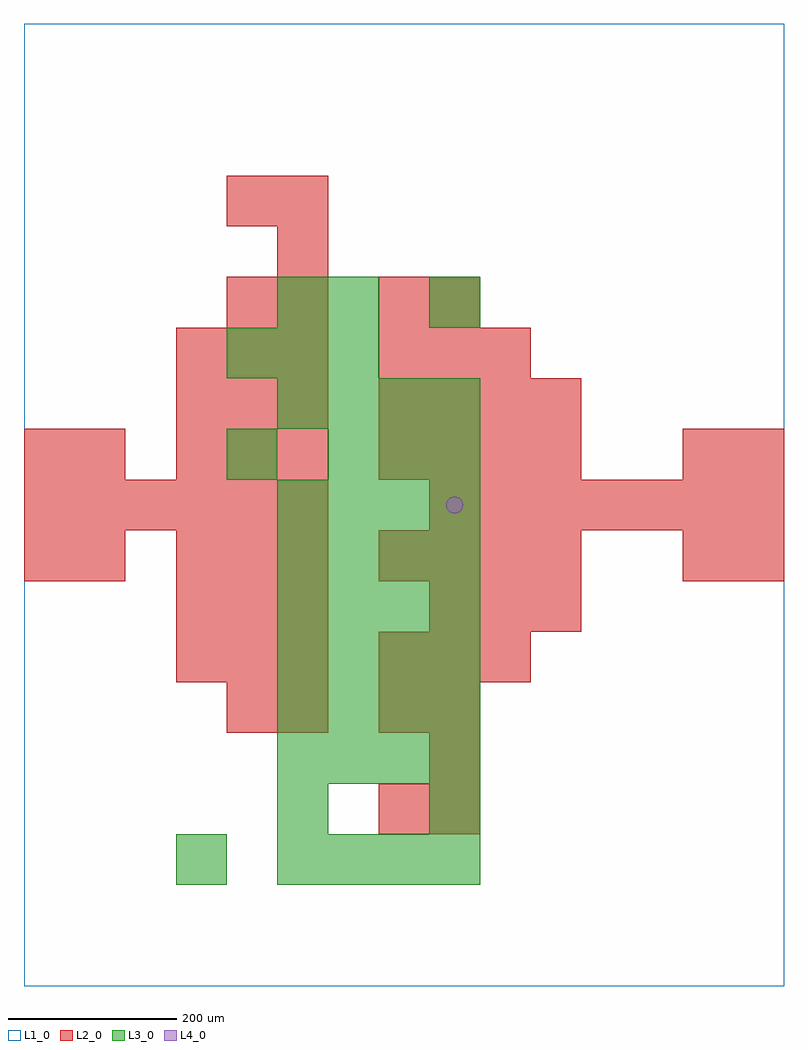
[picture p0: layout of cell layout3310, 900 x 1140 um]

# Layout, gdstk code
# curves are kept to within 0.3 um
import gdstk
lib = gdstk.Library(unit=1e-6, precision=1e-09)
def R(c, l, rs):  # rectangles x0, y0, x1, y1
    for r in rs: c.add(gdstk.rectangle(r[:2], r[2:], *l))
def A(c, l, x, y, w, h, nx, ny, dx, dy):  # array of equal rectangles
    R(c, l, [(x+i*dx, y+j*dy, x+i*dx+w, y+j*dy+h) for i in range(nx) for j in range(ny)])
def P(c, l, *ps):  # polygons
    for p in ps: c.add(gdstk.Polygon(p, *l))
L1_0 = (1, 0)
L2_0 = (2, 0)
L3_0 = (3, 0)
L4_0 = (4, 0)

layout3310 = lib.new_cell('layout3310')
R(layout3310, L1_0, [(0,0,900,1140)])
A(layout3310, L2_0, 480, 180, 60, 60, 1, 3, 0, 60)
A(layout3310, L2_0, 180, 360, 60, 60, 3, 3, 60, 60)
A(layout3310, L2_0, 420, 360, 60, 60, 3, 2, 60, 360)
A(layout3310, L2_0, 480, 420, 60, 60, 3, 1, 60, 0)
A(layout3310, L2_0, 420, 480, 60, 60, 4, 2, 60, 120)
A(layout3310, L2_0, 0, 540, 60, 60, 6, 1, 60, 0)
A(layout3310, L2_0, 480, 540, 60, 60, 7, 1, 60, 0)
A(layout3310, L2_0, 180, 600, 60, 60, 3, 3, 60, 60)
A(layout3310, L2_0, 420, 660, 60, 60, 4, 1, 60, 0)
A(layout3310, L2_0, 300, 780, 60, 60, 1, 3, 0, 60)
R(layout3310, L2_0, [(420,180,480,240), (240,300,300,360), (300,300,360,360), (420,300,480,360), (0,480,60,540), (60,480,120,540), (780,480,840,540), (840,480,900,540), (0,600,60,660), (60,600,120,660), (780,600,840,660), (840,600,900,660), (240,780,300,840), (420,780,480,840), (480,780,540,840), (240,900,300,960)])
A(layout3310, L3_0, 300, 120, 60, 60, 4, 2, 60, 120)
A(layout3310, L3_0, 300, 300, 60, 60, 4, 5, 60, 60)
A(layout3310, L3_0, 360, 600, 60, 60, 3, 1, 60, 0)
A(layout3310, L3_0, 300, 660, 60, 60, 4, 1, 60, 0)
A(layout3310, L3_0, 240, 720, 60, 60, 3, 1, 60, 0)
R(layout3310, L3_0, [(180,120,240,180), (300,180,360,240), (480,180,540,240), (240,600,300,660), (300,780,360,840), (360,780,420,840), (480,780,540,840)])
P(layout3310, L4_0, [(520,570),(519.239,573.827),(517.071,577.071),(513.827,579.239),(510,580),(506.173,579.239),(502.929,577.071),(500.761,573.827),(500,570),(500.761,566.173),(502.929,562.929),(506.173,560.761),(510,560),(513.827,560.761),(517.071,562.929),(519.239,566.173)])

lib.write_gds('layout3310.gds')
